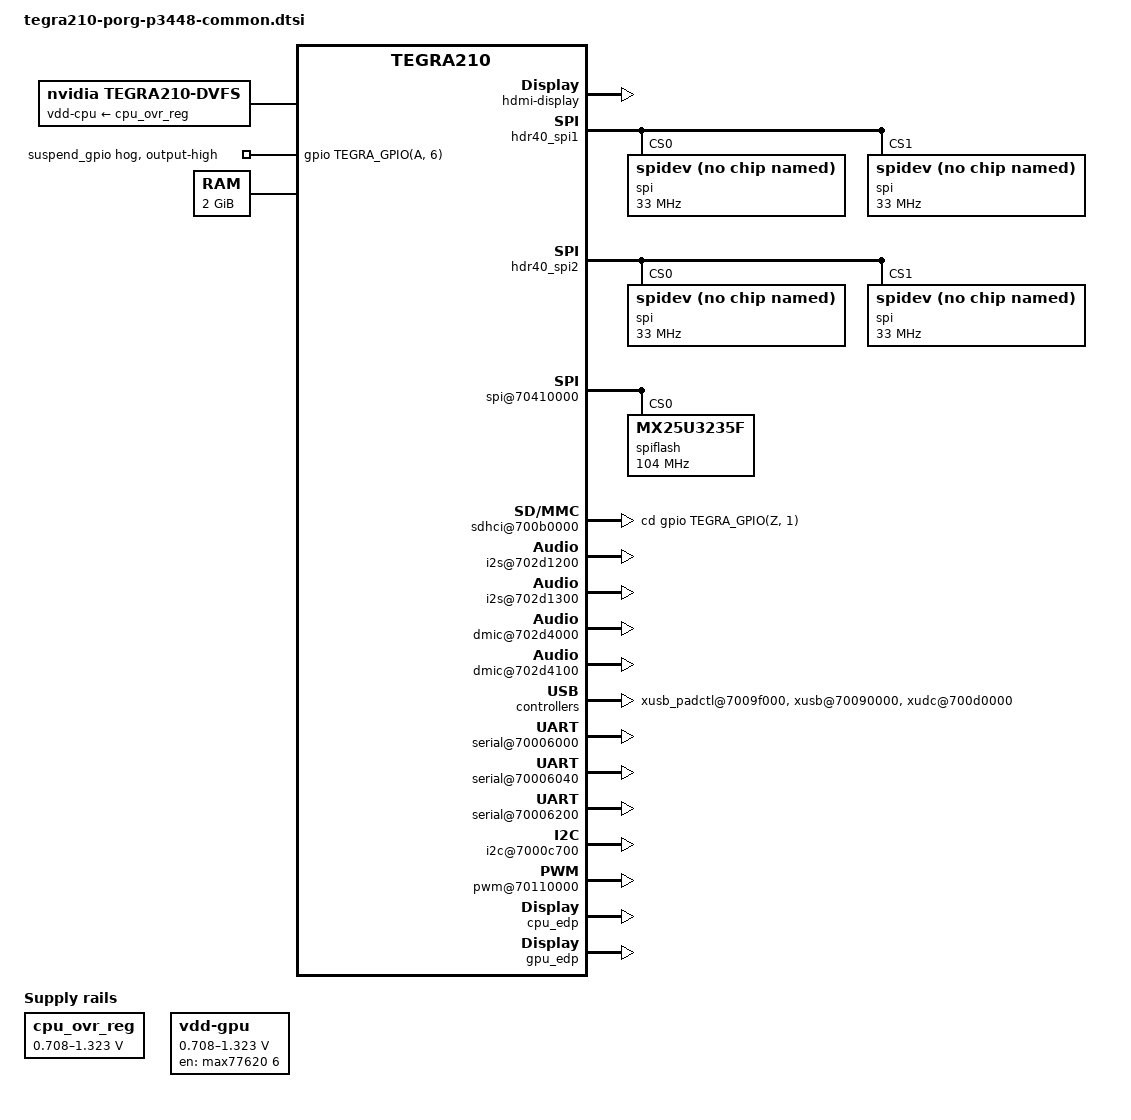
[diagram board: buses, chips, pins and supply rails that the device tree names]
/*
 * arch/arm64/boot/dts/tegra210-porg-p3448-common.dtsi
 *
 * Copyright (c) 2018-2020, NVIDIA CORPORATION.  All rights reserved.
 *
 * This program is free software; you can redistribute it and/or modify
 * it under the terms of the GNU General Public License as published by
 * the Free Software Foundation; version 2 of the License.
 *
 * This program is distributed in the hope that it will be useful, but WITHOUT
 * ANY WARRANTY; without even the implied warranty of MERCHANTABILITY or
 * FITNESS FOR A PARTICULAR PURPOSE.  See the GNU General Public License for
 * more details.
 *
 * You should have received a copy of the GNU General Public License along
 * with this program; if not, write to the Free Software Foundation, Inc.,
 * 51 Franklin Street, Fifth Floor, Boston, MA  02110-1301, USA.
 *
 */
/dts-v1/;
/memreserve/ 0x80000000 0x00020000;

#include <t210-common-platforms/tegra210-common.dtsi>
#include <tegra210-soc/tegra210-sdhci.dtsi>
#include <t210-common-platforms/tegra210-thermal-nct72-p2530.dtsi>
#include <tegra210-soc/tegra210-thermal-Tboard-Tdiode.dtsi>
#include "porg-platforms/tegra210-porg-power-tree-p3448-0000-a00.dtsi"
#include "porg-platforms/tegra210-pinmux-drive-sdmmc-common.dtsi"
#include "porg-platforms/tegra210-porg-pwm-fan.dtsi"
#include "porg-platforms/tegra210-porg-camera.dtsi"
#include "porg-platforms/tegra210-porg-camera-rbpcv2-imx219.dtsi"
#include "porg-platforms/tegra210-porg-camera-rbpcv2-dual-imx219.dtsi"
#include <t210-common-platforms/tegra210-ers-hdmi-e2190-1100-a00.dtsi>
#include <t210-common-platforms/tegra210-dp.dtsi>
#include <t210-common-platforms/tegra210-thermal-userspace-alert.dtsi>
#include "porg-platforms/tegra210-porg-thermal.dtsi"
#include "porg-platforms/tegra210-porg-thermal-fan-est.dtsi"
#include "porg-platforms/tegra210-porg-keys-p3448-0000-a00.dtsi"
#include <dt-bindings/iio/meter/ina3221x.h>
#include <tegra210-soc/tegra210-audio.dtsi>
#include "porg-platforms/tegra210-porg-cpufreq.dtsi"
#include "porg-platforms/tegra210-porg-powermon-p3448-0000-a00.dtsi"
#include "porg-plugin-manager/tegra210-porg-eeprom-manager.dtsi"
#include "porg-plugin-manager/tegra210-porg-plugin-manager.dtsi"
#include <tegra210-soc/mods-simple-bus.dtsi>
#include "porg-platforms/tegra210-porg-extcon-p3448-0000-a00.dtsi"
#include "porg-platforms/tegra210-porg-p3448-emc-a00.dtsi"
#include "porg-platforms/tegra210-porg-pcie.dtsi"
#include "porg-platforms/tegra210-porg-prods.dtsi"
#include "porg-platforms/tegra210-porg-super-module-e2614.dtsi"

/ {
        nvidia,boardids = "3448";
        nvidia,proc-boardid = "3448";
        nvidia,pmu-boardid = "3448";
	nvidia,fastboot-usb-pid = <0xb442>;

	chosen {
		nvidia,tegra-porg-sku;
		stdout-path = "/serial@70006000";
		nvidia,tegra-always-on-personality;
		no-tnid-sn;
		bootargs = "earlycon=uart8250,mmio32,0x70006000";
	};

	cpus {
		cpu@0 {
			clocks = <&tegra_car TEGRA210_CLK_CCLK_G>,
				 <&tegra_car TEGRA210_CLK_CCLK_LP>,
				 <&tegra_car TEGRA210_CLK_PLL_X>,
				 <&tegra_car TEGRA210_CLK_PLL_P_OUT4>,
				 <&tegra_clk_dfll>;
			clock-names = "cpu_g", "cpu_lp", "pll_x", "pll_p", "dfll";
			clock-latency = <300000>;
		};
	};

	rollback-protection {
		status = "okay";
	};

	host1x {
		/* Camera unit clocks */
		assigned-clocks = <&tegra_car TEGRA210_CLK_EXTERN3>,
						<&tegra_car TEGRA210_CLK_CILE>,
						<&tegra_car TEGRA210_CLK_CILCD>,
						<&tegra_car TEGRA210_CLK_CILAB>,
						<&tegra_car TEGRA210_CLK_VI_I2C>,
						<&tegra_car TEGRA210_CLK_CLK_OUT_3_MUX>,
						<&tegra_car TEGRA210_CLK_VI>,
						<&tegra_car TEGRA210_CLK_ISP>,
						<&tegra_car TEGRA210_CLK_ISPB>;
		assigned-clock-parents = <&tegra_car TEGRA210_CLK_PLL_P>,
						<&tegra_car TEGRA210_CLK_PLL_P>,
						<&tegra_car TEGRA210_CLK_PLL_P>,
						<&tegra_car TEGRA210_CLK_PLL_P>,
						<&tegra_car TEGRA210_CLK_PLL_P>,
						<&tegra_car TEGRA210_CLK_EXTERN3>,
						<&tegra_car TEGRA210_CLK_PLL_C>,
						<&tegra_car TEGRA210_CLK_PLL_C>,
						<&tegra_car TEGRA210_CLK_ISP>;
		assigned-clock-rates = <24000000>,
						<102000000>,
						<102000000>,
						<102000000>,
						<102000000>,
						<24000000>,
						<408000000>,
						<408000000>,
						<0>;

		/* tegradc.0 */
		dc@54200000 {
			status = "okay";
			nvidia,dc-flags = <TEGRA_DC_FLAG_ENABLED>;
			nvidia,emc-clk-rate = <300000000>;
			nvidia,cmu-enable = <1>;
			nvidia,fb-bpp = <32>; /* bits per pixel */
			nvidia,fb-flags = <TEGRA_FB_FLIP_ON_PROBE>;
			nvidia,dc-or-node = "/host1x/sor1";
			nvidia,dc-connector = <&sor1>;
			win-mask = <0x7>; /* Assign only wins A/B/C */
		};
		dc@54240000 {
			status = "okay";
			nvidia,dc-flags = <TEGRA_DC_FLAG_ENABLED>;
			nvidia,emc-clk-rate = <300000000>;
			nvidia,cmu-enable = <1>;
			nvidia,fb-bpp = <32>; /* bits per pixel */
			nvidia,fb-flags = <TEGRA_FB_FLIP_ON_PROBE>;
			nvidia,dc-or-node = "/host1x/sor";
			nvidia,dc-connector = <&sor0>;
			win-mask = <0x7>; /* Assign only wins A/B/C */
		};
		sor {
			status = "okay";
			nvidia,xbar-ctrl = <2 1 0 3 4>;
			dp-display {
				status = "okay";
			};
		};
		sor1 {
			/* Compared to Jetson-TX1's baseboard (P2597), HDMI TX
			 * lanes 0 and 2 have been swapped in Porg's baseboard
			 * (P3448) making it a straight lane mapping between
			 * SOR1 and the pad.
			 */
			nvidia,xbar-ctrl = <0 1 2 3 4>;
			status = "okay";
			hdmi-display {
				status = "okay";
			};
		};
		dpaux {
			status = "okay";
		};
		dpaux1 {
			status = "okay";
		};
	};

	pwm@7000a000 {
		nvidia,no-clk-sleeping-in-ops;
	};

	pmc@7000e400 {
		#nvidia,wake-cells = <3>;
		nvidia,invert-interrupt;
		nvidia,suspend-mode = <0>;
		nvidia,cpu-pwr-good-time = <0>;
		nvidia,cpu-pwr-off-time = <0>;
		nvidia,core-pwr-good-time = <4587 3876>;
		nvidia,core-pwr-off-time = <39065>;
		nvidia,core-pwr-req-active-high;
		nvidia,sys-clock-req-active-high;

		iopad-defaults {
			audio-hv-pads {
				pins = "audio-hv";
				nvidia,power-source-voltage = <TEGRA_IO_PAD_VOLTAGE_1800000UV>;
			};

			spi-hv-pads {
				pins = "spi-hv";
				nvidia,power-source-voltage = <TEGRA_IO_PAD_VOLTAGE_1800000UV>;
			};

			gpio-pads {
				pins = "gpio";
				nvidia,power-source-voltage = <TEGRA_IO_PAD_VOLTAGE_1800000UV>;
			};

			sdmmc-io-pads {
				pins = "sdmmc1", "sdmmc3";
				nvidia,enable-voltage-switching;
			};
		};
	};

	hdr40_spi1: spi@7000d400 { /* SPI 1 to 40 pin header */
		status = "okay";
		spi@0 {
			compatible = "spidev";
			reg = <0x0>;
			spi-max-frequency = <33000000>;
			controller-data {
				nvidia,enable-hw-based-cs;
				nvidia,rx-clk-tap-delay = <7>;
			};
		};
		spi@1 {
			compatible = "spidev";
			reg = <0x1>;
			spi-max-frequency = <33000000>;
			controller-data {
				nvidia,enable-hw-based-cs;
				nvidia,rx-clk-tap-delay = <7>;
			};
		};
	};

	hdr40_spi2: spi@7000d600 { /* SPI 2 to 40 pin header */
		status = "okay";
		spi@0 {
			compatible = "spidev";
			reg = <0x0>;
			spi-max-frequency = <33000000>;
			controller-data {
				nvidia,enable-hw-based-cs;
				nvidia,rx-clk-tap-delay = <6>;
			};
		};
		spi@1 {
			compatible = "spidev";
			reg = <0x1>;
			spi-max-frequency = <33000000>;
			controller-data {
				nvidia,enable-hw-based-cs;
				nvidia,rx-clk-tap-delay = <6>;
			};
		};
	};

	spi@7000d800 {
		status = "disabled";
	};

	spi@7000da00 {
		status = "disabled";
	};

	spi@70410000 {
		status = "okay";
		spi-max-frequency = <104000000>;
		spiflash@0 {
			#address-cells = <1>;
			#size-cells = <1>;
			compatible = "MX25U3235F";
			reg = <0>;
			spi-max-frequency = <104000000>;
			controller-data {
				nvidia,x1-len-limit = <4194304>;
				nvidia,x1-bus-speed = <104000000>;
				nvidia,x1-dymmy-cycle = <8>;
				nvidia,ctrl-bus-clk-ratio = /bits/ 8 <0x01>;
			};
		};
	};

	sdhci@700b0600 { /* SDMMC4 for EMMC */
		uhs-mask = <0x0>;
		mmc-hs400-enhanced-strobe;
		built-in;
		power-off-rail;
		status = "disabled";
		bus-width = <8>;
		non-removable;
		/delete-property/ nvidia,enable-hs533-mode;
		no-sdio;
		no-sd;
		pll_source = "pll_p", "pll_c4_out2";
		max-clk-limit = <0xbebc200>;
	};

	sdhci@700b0400 {
		status = "disabled";
		/delete-property/ keep-power-in-suspend;
		/delete-property/ non-removable;
		mmc-ddr-1_8v;
		mmc-ocr-mask = <3>;
		uhs-mask = <0x0>;
		tap-delay = <3>;
	};

	sdhci@700b0200 { /* SDMMC2 for Wifi */
		uhs-mask = <0x8>;
		power-off-rail;
		force-non-removable-rescan;
		status = "disabled";
	};

	sdhci@700b0000 { /* SDMMC1 for SD card */
		default-drv-type = <1>;
		cd-gpios = <&gpio TEGRA_GPIO(Z, 1) 0>;
		sd-uhs-sdr104;
		sd-uhs-sdr50;
		sd-uhs-sdr25;
		sd-uhs-sdr12;
		mmc-ddr-1_8v;
		mmc-hs200-1_8v;
		nvidia,cd-wakeup-capable;
		nvidia,update-pinctrl-settings;
		nvidia,pmc-wakeup = <&tegra_pmc PMC_WAKE_TYPE_GPIO 35
			PMC_TRIGGER_TYPE_NONE>;
		uhs-mask = <0xc>;
		no-sdio;
		no-mmc;
		disable-wp;
		status = "okay";
	};

	aconnect@702c0000 {
		adma@702e2000 {
			status = "okay";
		};

		ahub {
			i2s@702d1000 {
				status = "disabled";
			};

			i2s@702d1100 {
				status = "disabled";
			};

			i2s@702d1200 {
				regulator-supplies = "vdd-1v8-dmic";
				vdd-1v8-dmic-supply = <&max77620_sd3>;
				fsync-width = <15>;
				status = "okay";
			};

			i2s@702d1300 {
				regulator-supplies = "vddio-uart";
				vddio-uart-supply = <&max77620_sd3>;
				fsync-width = <15>;
				status = "okay";

				/*
				 * I2S4 on Jetson Nano uses the I2S4B pads
                                 * and to use these pads bit 0 in the I2S_CYA
				 * register must be set.
				 */
				enable-cya;
			};

			i2s@702d1400 {
				status = "disabled";
			};

			dmic@702d4000 {
				regulator-supplies = "vdd-1v8-dmic";
				vdd-1v8-dmic-supply = <&max77620_sd3>;
				status = "okay";
			};

			dmic@702d4100 {
				regulator-supplies = "vdd-1v8-dmic";
				vdd-1v8-dmic-supply = <&max77620_sd3>;
				status = "okay";
			};

			dmic@702d4200 {
				status = "disabled";
			};
		};
	};

	hda@70030000 {
		status = "okay";
	};

	tegra_sound: sound {
		status = "okay";
		compatible = "nvidia,tegra-audio-t210ref-mobile-rt565x";
		nvidia,model = "tegra-snd-t210ref-mobile-rt565x";

		clocks = <&tegra_car TEGRA210_CLK_PLL_A>,
			 <&tegra_car TEGRA210_CLK_PLL_A_OUT0>,
			 <&tegra_car TEGRA210_CLK_EXTERN1>;
		clock-names = "pll_a", "pll_a_out0", "extern1";
		assigned-clocks = <&tegra_car TEGRA210_CLK_EXTERN1>,
				  <&tegra_car TEGRA210_CLK_PLL_A_OUT0>,
				  <&tegra_car TEGRA210_CLK_PLL_A>;
		assigned-clock-parents = <&tegra_car TEGRA210_CLK_PLL_A_OUT0>;
		assigned-clock-rates = <12288000>, <49152000>, <368640000>;

		nvidia,num-codec-link = <4>;

		nvidia,audio-routing =
			"x Headphone",	"x OUT",
			"x IN",		"x Mic",
			"y Headphone",	"y OUT",
			"y IN",		"y Mic",
			"a IN",		"a Mic",
			"b IN",		"b Mic";

		nvidia,xbar = <&tegra_axbar>;
		mclk-fs = <256>;

		hdr40_snd_link_i2s: i2s_dai_link1: nvidia,dai-link-1 {
			link-name = "spdif-dit-0";
			cpu-dai = <&tegra_i2s4>;
			codec-dai = <&spdif_dit0>;
			cpu-dai-name = "I2S4";
			codec-dai-name = "dit-hifi";
			format = "i2s";
			bitclock-slave;
			frame-slave;
			bitclock-noninversion;
			frame-noninversion;
			bit-format = "s16_le";
			srate = <48000>;
			num-channel = <2>;
			ignore_suspend;
			name-prefix = "x";
			status = "okay";
		};
		nvidia,dai-link-2 {
			link-name = "spdif-dit-1";
			cpu-dai = <&tegra_i2s3>;
			codec-dai = <&spdif_dit1>;
			cpu-dai-name = "I2S3";
			codec-dai-name = "dit-hifi";
			format = "i2s";
			bitclock-slave;
			frame-slave;
			bitclock-noninversion;
			frame-noninversion;
			bit-format = "s16_le";
			srate = <48000>;
			num-channel = <2>;
			ignore_suspend;
			name-prefix = "y";
			status = "okay";
		};
		nvidia,dai-link-3 {
			link-name = "spdif-dit-2";
			cpu-dai = <&tegra_dmic1>;
			codec-dai = <&spdif_dit2>;
			cpu-dai-name = "DMIC1";
			codec-dai-name = "dit-hifi";
			format = "i2s";
			bit-format = "s16_le";
			srate = <48000>;
			ignore_suspend;
			num-channel = <2>;
			name-prefix = "a";
			status = "okay";
		};
		nvidia,dai-link-4 {
			link-name = "spdif-dit-3";
			cpu-dai = <&tegra_dmic2>;
			codec-dai = <&spdif_dit3>;
			cpu-dai-name = "DMIC2";
			codec-dai-name = "dit-hifi";
			format = "i2s";
			bit-format = "s16_le";
			srate = <48000>;
			ignore_suspend;
			num-channel = <2>;
			name-prefix = "b";
			status = "okay";
		};
	};

	extcon {
		extcon@0 {
			status = "disabled";
		};
	};

	xusb_padctl@7009f000 {
		status = "okay";

		pads {
			usb2 {
				status = "okay";

				lanes {
					usb2-0 {
						status = "okay";
						nvidia,function = "xusb";
					};
					usb2-1 {
						status = "okay";
						nvidia,function = "xusb";
					};
					usb2-2 {
						status = "okay";
						nvidia,function = "xusb";
					};
				};
			};

			pcie {
				status = "okay";

				lanes {
					pcie-0 {
						status = "okay";
						nvidia,function = "pcie-x1";
					};
					pcie-1 {
						status = "okay";
						nvidia,function = "pcie-x4";
					};
					pcie-2 {
						status = "okay";
						nvidia,function = "pcie-x4";
					};
					pcie-3 {
						status = "okay";
						nvidia,function = "pcie-x4";
					};
					pcie-4 {
						status = "okay";
						nvidia,function = "pcie-x4";
					};
					pcie-5 {
						status = "okay";
						nvidia,function = "xusb";
					};
					pcie-6 {
						status = "okay";
						nvidia,function = "xusb";
					};
				};
			};
		};

		ports {
			usb2-0 {
				status = "okay";
				mode = "otg";
				nvidia,usb3-port-fake = <3>;
			};
			usb2-1 {
				status = "okay";
				mode = "host";
			};
			usb2-2 {
				status = "okay";
				mode = "host";
			};
			usb3-0 {
				status = "okay";
				nvidia,usb2-companion = <1>;
			};
		};
	};


	xusb@70090000 {
		phys = <&{/xusb_padctl@7009f000/pads/usb2/lanes/usb2-0}>,
				<&{/xusb_padctl@7009f000/pads/usb2/lanes/usb2-1}>,
				<&{/xusb_padctl@7009f000/pads/usb2/lanes/usb2-2}>,
				<&{/xusb_padctl@7009f000/pads/pcie/lanes/pcie-6}>;
		phy-names = "usb2-0", "usb2-1", "usb2-2", "usb3-0";
		#extcon-cells = <1>;
		nvidia,pmc-wakeup =
			<&tegra_pmc
				PMC_WAKE_TYPE_EVENT 39 PMC_TRIGGER_TYPE_HIGH>,
			<&tegra_pmc
				PMC_WAKE_TYPE_EVENT 40 PMC_TRIGGER_TYPE_HIGH>,
			<&tegra_pmc
				PMC_WAKE_TYPE_EVENT 41 PMC_TRIGGER_TYPE_HIGH>,
			<&tegra_pmc
				PMC_WAKE_TYPE_EVENT 42 PMC_TRIGGER_TYPE_HIGH>,
			<&tegra_pmc
				PMC_WAKE_TYPE_EVENT 44 PMC_TRIGGER_TYPE_HIGH>;
		nvidia,boost_cpu_freq = <1200>;
		status = "okay";
	};

	xudc@700d0000 {
		phys =  <&{/xusb_padctl@7009f000/pads/usb2/lanes/usb2-0}>;
		phy-names = "usb2";
		charger-detector = <&tegra_usb_cd>;
		#extcon-cells = <1>;
		status = "okay";
	};

	tegra_usb_cd: usb_cd {
		reg = <0x0 0x7009f000 0x0 0x1000>;
		phys = <&{/xusb_padctl@7009f000/pads/usb2/lanes/usb2-0}>;
		phy-names = "otg-phy";
		status = "disabled";
	};

	psy_extcon_xudc {
		status = "disabled";
		/delete-property/ dt-override-status-odm-data;
	};

	xotg {
		status = "disabled";
		#extcon-cells = <1>;
	};

	chosen {
		nvidia,bootloader-vbus-enable=<0x1>;
		nvidia,fastboot_without_usb;
		nvidia,gpu-disable-power-saving;
		board-has-eeprom;
		firmware-blob-partition = "RP4";

		verified-boot {
			poweroff-on-red-state;
		};
	};

	gpu-dvfs-rework {
		status = "okay";
	};

	pwm_regulators {
		compatible = "simple-bus";
		#address-cells = <1>;
		#size-cells = <0>;

		cpu_ovr_reg: pwm-regulator@0 {
			status = "okay";
			reg = <0>;
			compatible = "pwm-regulator";
			pwms = <&tegra_pwm_dfll 0 2500>;
			regulator-name = "vdd-cpu";
			regulator-min-microvolt = <708000>;
			regulator-max-microvolt = <1323400>;
			regulator-always-on;
			regulator-boot-on;
			voltage-table =
				<708000 0>, <727200 1>, <746400 2>,
				<765600 3>, <784800 4>, <804000 5>,
				<823200 6>, <842400 7>, <861600 8>,
				<880800 9>, <900000 10>, <919200 11>,
				<938400 12>, <957600 13>, <976800 14>,
				<996000 15>, <1015200 16>, <1034400 17>,
				<1053600 18>, <1072800 19>, <1092000 20>,
				<1111200 21>, <1130400 22>, <1149600 23>,
				<1168800 24>, <1188000 25>, <1207200 26>,
				<1226400 27>, <1245600 28>, <1264800 29>,
				<1284000 30>, <1303200 31>, <1322400 32>;
		};

		pwm-regulator@1 {
			status = "okay";
			reg = <1>;
			compatible = "pwm-regulator";
			pwms = <&tegra_pwm 1 8000>;
			regulator-name = "vdd-gpu";
			regulator-min-microvolt = <708000>;
			regulator-max-microvolt = <1323400>;
			regulator-init-microvolt = <1000000>;
			regulator-n-voltages = <62>;
			regulator-enable-ramp-delay = <2000>;
			enable-gpio = <&max77620 6 0>;
			regulator-settling-time-us = <160>;
		};
	};

	soctherm@0x700E2000 {
		throttle-cfgs {
			throttle_oc1: oc1 {
				nvidia,priority = <0>;
				nvidia,polarity-active-low = <0>;
				nvidia,count-threshold = <0>;
				nvidia,alarm-filter = <0>;
				nvidia,alarm-period = <0>;
				nvidia,cpu-throt-percent = <0>;
				nvidia,gpu-throt-level =
					<TEGRA_SOCTHERM_THROT_LEVEL_NONE>;
			};

			throttle_oc3: oc3 {
				nvidia,priority = <40>;
				nvidia,polarity-active-low = <1>;
				nvidia,count-threshold = <15>;
				nvidia,alarm-filter = <5100000>;
				nvidia,alarm-period = <0>;
				nvidia,cpu-throt-percent = <75>;
				nvidia,gpu-throt-level =
					<TEGRA_SOCTHERM_THROT_LEVEL_MED>;
			};
		};
	};

	serial@70006000 { /* UART-A : UART1: Debug */
		compatible = "nvidia,tegra210-uart", "nvidia,tegra114-hsuart", "nvidia,tegra20-uart";
		console-port;
		sqa-automation-port;
		/delete-property/ resets;
		/delete-property/ reset-names;
		status = "okay";
	};

	serial@70006040 { /* UART-B : UART2 40 pin header */
		compatible = "nvidia,tegra114-hsuart";
		status = "okay";
	};

	serial@70006200 { /* UART-C : UART3 : M.2 Key E */
		compatible = "nvidia,tegra114-hsuart";
		dma-names = "tx";
		nvidia,adjust-baud-rates = <921600 921600 100>;
		status = "okay";
	};

	serial@70006300 { /* UART-D not used */
		status = "disabled";
	};

	i2c@7000c700 { /* i2c4 */
		status = "okay";
	};

	i2c@7000d000 {
		clock-frequency = <1000000>;
	};

	dfll-max77621@70110000 {
		i2c_dfll: dfll-max77621-integration {
			i2c-fs-rate = <1000000>;
			pmic-i2c-address = <0x36>;
			pmic-i2c-voltage-register = <0x01>;
			sel-conversion-slope = <1>;
		};

		dfll_max77621_parms: dfll-max77621-board-params {
			sample-rate = <12500>;
			fixed-output-forcing;
			cf = <10>;
			ci = <0>;
			cg = <2>;
			droop-cut-value = <0xf>;
			droop-restore-ramp = <0x0>;
			scale-out-ramp = <0x0>;
		};
	};

	dfll_cap: dfll-cdev-cap {
		compatible = "nvidia,tegra-dfll-cdev-action";
		act-dev = <&tegra_clk_dfll>;
		cdev-type = "DFLL-cap";
		#cooling-cells = <2>; /* min followed by max */
	};

	dfll_floor: dfll-cdev-floor {
		compatible = "nvidia,tegra-dfll-cdev-action";
		act-dev = <&tegra_clk_dfll>;
		cdev-type = "DFLL-floor";
		#cooling-cells = <2>; /* min followed by max */
	};

	hdr40_i2c0: i2c@7000c000 {
		tegra_nct72: temp-sensor@4c {
			status = "disabled";
		};
	};

	hdr40_i2c1: i2c@7000c400 { };

	clock@70110000 {
		status = "okay";
		vdd-cpu-supply = <&cpu_ovr_reg>;
		nvidia,dfll-max-freq-khz = <1479000>;
		nvidia,pwm-to-pmic;
		nvidia,init-uv = <1000000>;
		nvidia,sample-rate = <25000>;
		nvidia,droop-ctrl = <0x00000f00>;
		nvidia,force-mode = <1>;
		nvidia,cf = <6>;
		nvidia,ci = <0>;
		nvidia,cg = <2>;
		nvidia,idle-override;
		nvidia,one-shot-calibrate;
		nvidia,pwm-period = <2500>; /* 2.5us */
		pinctrl-names = "dvfs_pwm_enable", "dvfs_pwm_disable";
		pinctrl-0 = <&dvfs_pwm_active_state>;
		pinctrl-1 = <&dvfs_pwm_inactive_state>;
		nvidia,align-offset-uv = <708000>;
		nvidia,align-step-uv = <19200>;
	};

	dvfs {
		compatible = "nvidia,tegra210-dvfs";
                vdd-cpu-supply = <&cpu_ovr_reg>;
                nvidia,gpu-max-freq-khz = <921600>;
	};

	rtc {
		nvidia,pmc-wakeup = <&tegra_pmc PMC_WAKE_TYPE_EVENT 16
			PMC_TRIGGER_TYPE_HIGH>;
	};

	nvpmodel {
		status = "okay";
	};

	r8168 {
		isolate-gpio = <&gpio TEGRA_GPIO(X, 3) 0>;
	};

	tegra_udrm: tegra_udrm {
		compatible = "nvidia,tegra-udrm";
	};

	tegra_wdt: watchdog@60005100 {
		dt-override-status-odm-data = <0x00010000 0x00010000>;
		status = "disabled";
	};

	soft_wdt: soft_watchdog {
		compatible = "softdog-platform";
		dt-override-status-odm-data = <0x00030000 0x00000000>;
		status = "okay";
	};

	gpio: gpio@6000d000 {
		suspend_gpio: system-suspend-gpio {
			status = "okay";
			gpio-hog;
			output-high;
			gpio-suspend;
			suspend-output-low;
			gpios = <
				TEGRA_GPIO(A, 6) 0
				>;
		};
	};

	leds {
		compatible = "gpio-leds";
		status = "disabled";
		pwr {
			gpios = <&gpio TEGRA_GPIO(I, 1) GPIO_ACTIVE_HIGH>;
			default-state = "on";
			linux,default-trigger = "system-throttle";
		};
	};

	memory-controller@70019000 {
		status = "okay";
	};

	mailbox@70098000 {
		status = "okay";
	};

	memory@80000000 {
		device_type = "memory";
		reg = < 0x0 0x80000000 0x0 0x80000000 >;
	};

	pinmux@700008d4 {
                dvfs_pwm_active_state: dvfs_pwm_active {
                        dvfs_pwm_pbb1 {
                                nvidia,pins = "dvfs_pwm_pbb1";
                                nvidia,tristate = <TEGRA_PIN_DISABLE>;
                        };
                };

                dvfs_pwm_inactive_state: dvfs_pwm_inactive {
                        dvfs_pwm_pbb1 {
                                nvidia,pins = "dvfs_pwm_pbb1";
                                nvidia,tristate = <TEGRA_PIN_ENABLE>;
                        };
                };
        };

        pwm@70110000 {
                pinctrl-0 = <&dvfs_pwm_active_state>;
                pinctrl-1 = <&dvfs_pwm_inactive_state>;
                pwm-regulator = <&cpu_ovr_reg>;
                status = "okay";
        };

	nvdumper {
		status = "disabled";
	};

	cpu_edp {
		status = "okay";
		nvidia,edp_limit = <0x61a8>;
	};

	gpu_edp {
		status = "okay";
		nvidia,edp_limit = <0x4e20>;
	};

	cpu_alert: cpu-throttle-alert {
		status = "okay";
	};

	gpu_alert: gpu-throttle-alert {
		status = "okay";
	};

	hot_surface_alert: hot-surface-alert {
		compatible = "userspace-therm-alert";
		cdev-type = "hot-surface-alert";
		status = "okay";
		#cooling-cells = <2>;
	};

	thermal-zones {
		GPU-therm {
			trips {
				gpu_hot_surface_trip: gpu-hot-surface-trip {
					temperature = <70000>;
					hysteresis = <8000>;
					type = "active";
				};
			};

			cooling-maps {
				gpu-hot-surface-map0 {
					trip = <&gpu_hot_surface_trip>;
					cooling-device = <&hot_surface_alert 1 1>;
				};
			};
		};

		PLL-therm {
			trips {
				pll_hot_surface_trip: pll-hot-surface-trip {
					temperature = <70000>;
					hysteresis = <8000>;
					type = "active";
				};
			};

			cooling-maps {
				pll-hot-surface-map0 {
					trip = <&pll_hot_surface_trip>;
					cooling-device = <&hot_surface_alert 1 1>;
				};
			};
		};
	};
};

#if LINUX_VERSION >= 414
#include <tegra210-linux-4.14.dtsi>
#endif
